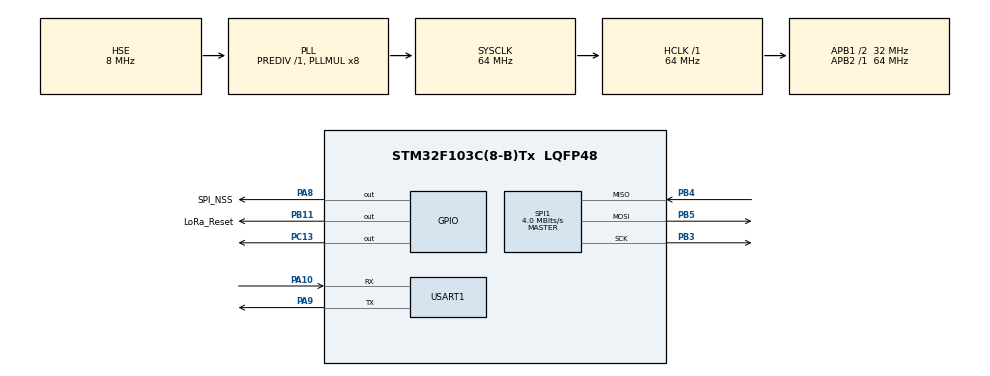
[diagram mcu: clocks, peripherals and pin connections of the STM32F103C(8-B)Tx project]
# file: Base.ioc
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Mcu.Family=STM32F1
Mcu.Name=STM32F103C(8-B)Tx
Mcu.Package=LQFP48
NVIC.PriorityGroup=NVIC_PRIORITYGROUP_4
PA10.Mode=Asynchronous
PA10.Signal=USART1_RX
PA8.GPIO_Label=SPI_NSS
PA8.Signal=GPIO_Output
PA9.Mode=Asynchronous
PA9.Signal=USART1_TX
PB11.GPIO_Label=LoRa_Reset
PB11.Signal=GPIO_Output
PB3.Mode=Full_Duplex_Master
PB3.Signal=SPI1_SCK
PB4.Mode=Full_Duplex_Master
PB4.Signal=SPI1_MISO
PB5.Mode=Full_Duplex_Master
PB5.Signal=SPI1_MOSI
PC13-TAMPER-RTC.Signal=GPIO_Output
PD0-OSC_IN.Mode=HSE-External-Oscillator
PD0-OSC_IN.Signal=RCC_OSC_IN
PD1-OSC_OUT.Mode=HSE-External-Oscillator
PD1-OSC_OUT.Signal=RCC_OSC_OUT
ProjectManager.HeapSize=0x200
ProjectManager.StackSize=0x400
ProjectManager.TargetToolchain=TrueSTUDIO
RCC.ADCPresc=RCC_ADCPCLK2_DIV8
RCC.AHBFreq_Value=64000000
RCC.APB1CLKDivider=RCC_HCLK_DIV2
RCC.APB1Freq_Value=32000000
RCC.APB1TimFreq_Value=64000000
RCC.APB2Freq_Value=64000000
RCC.APB2TimFreq_Value=64000000
RCC.HCLKFreq_Value=64000000
RCC.PLLMUL=RCC_PLL_MUL8
RCC.PLLSourceVirtual=RCC_PLLSOURCE_HSE
RCC.SYSCLKFreq_VALUE=64000000
RCC.SYSCLKSource=RCC_SYSCLKSOURCE_PLLCLK
RCC.USBFreq_Value=64000000
SPI1.BaudRatePrescaler=SPI_BAUDRATEPRESCALER_16
SPI1.CalculateBaudRate=4.0 MBits/s
SPI1.Direction=SPI_DIRECTION_2LINES
SPI1.Mode=SPI_MODE_MASTER
SPI1.VirtualType=VM_MASTER
USART1.VirtualMode=VM_ASYNC
VP_SYS_VS_ND.Mode=No_Debug
board=custom

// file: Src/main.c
/**
  ******************************************************************************
  * @file           : main.c
  * @brief          : Main program body
  ******************************************************************************
  ** This notice applies to any and all portions of this file
  * that are not between comment pairs USER CODE BEGIN and
  * USER CODE END. Other portions of this file, whether
  * inserted by the user or by software development tools
  * are owned by their respective copyright owners.
  *
  * COPYRIGHT(c) 2018 STMicroelectronics
  *
  * Redistribution and use in source and binary forms, with or without modification,
  * are permitted provided that the following conditions are met:
  *   1. Redistributions of source code must retain the above copyright notice,
  *      this list of conditions and the following disclaimer.
  *   2. Redistributions in binary form must reproduce the above copyright notice,
  *      this list of conditions and the following disclaimer in the documentation
  *      and/or other materials provided with the distribution.
  *   3. Neither the name of STMicroelectronics nor the names of its contributors
  *      may be used to endorse or promote products derived from this software
  *      without specific prior written permission.
  *
  * THIS SOFTWARE IS PROVIDED BY THE COPYRIGHT HOLDERS AND CONTRIBUTORS "AS IS"
  * AND ANY EXPRESS OR IMPLIED WARRANTIES, INCLUDING, BUT NOT LIMITED TO, THE
  * IMPLIED WARRANTIES OF MERCHANTABILITY AND FITNESS FOR A PARTICULAR PURPOSE ARE
  * DISCLAIMED. IN NO EVENT SHALL THE COPYRIGHT HOLDER OR CONTRIBUTORS BE LIABLE
  * FOR ANY DIRECT, INDIRECT, INCIDENTAL, SPECIAL, EXEMPLARY, OR CONSEQUENTIAL
  * DAMAGES (INCLUDING, BUT NOT LIMITED TO, PROCUREMENT OF SUBSTITUTE GOODS OR
  * SERVICES; LOSS OF USE, DATA, OR PROFITS; OR BUSINESS INTERRUPTION) HOWEVER
  * CAUSED AND ON ANY THEORY OF LIABILITY, WHETHER IN CONTRACT, STRICT LIABILITY,
  * OR TORT (INCLUDING NEGLIGENCE OR OTHERWISE) ARISING IN ANY WAY OUT OF THE USE
  * OF THIS SOFTWARE, EVEN IF ADVISED OF THE POSSIBILITY OF SUCH DAMAGE.
  *
  ******************************************************************************
  */
#include "main.h"
#include "stm32f1xx_hal.h"

/* USER CODE BEGIN Includes */
#include "SX1278.h"
/* USER CODE END Includes */

SPI_HandleTypeDef hspi1;

UART_HandleTypeDef huart1;

/* USER CODE BEGIN PV */
/* Private variables ---------------------------------------------------------*/

/* USER CODE END PV */

void SystemClock_Config(void);
static void MX_GPIO_Init(void);
static void MX_USART1_UART_Init(void);
static void MX_SPI1_Init(void);

/* USER CODE BEGIN PFP */

/* Private function prototypes -----------------------------------------------*/

/* USER CODE END PFP */

int main(void)
{

  /* MCU Configuration----------------------------------------------------------*/

  /* Reset of all peripherals, Initializes the Flash interface and the Systick. */
  HAL_Init();

  /* Configure the system clock */
  SystemClock_Config();

  /* Initialize all configured peripherals */
  MX_GPIO_Init();
  MX_USART1_UART_Init();
  MX_SPI1_Init();
  /* USER CODE BEGIN 2 */

  SX1278_hw_t LoRaHW = {  .nss =   { .pin  = SPI_NSS_Pin,
		  	  	  	  	             .port = SPI_NSS_GPIO_Port},
						  .reset = { .pin  = LoRa_Reset_Pin,
									 .port = LoRa_Reset_GPIO_Port},
						  .dio0 =  {
									 .pin = 0,
									 .port = LoRa_Reset_GPIO_Port},
						  .spi =     &hspi1,
				  };

  SX1278_t LoRa;
  LoRa.hw = &LoRaHW;

  SX1278_begin(&LoRa, SX1278_433MHZ, SX1278_POWER_17DBM, SX1278_LORA_SF_12,SX1278_LORA_BW_125KHZ, 6);

  uint32_t ret;
  uint8_t buffer[256];
  ret = SX1278_LoRaEntryRx(&LoRa, 6, 2000);

  /* USER CODE END 2 */

  /* Infinite loop */
  /* USER CODE BEGIN WHILE */
  while (1)
  {

	  ret = SX1278_LoRaRxPacket(&LoRa, 2000);

		if (ret > 0) {
		  SX1278_read(&LoRa, (uint8_t *) buffer, ret);
//		  printf("Content (%d): %s\r\n", ret, buffer);

		  HAL_GPIO_WritePin(GPIOC, GPIO_PIN_13, GPIO_PIN_SET);
		  HAL_Delay(100);
		  HAL_GPIO_WritePin(GPIOC, GPIO_PIN_13, GPIO_PIN_RESET);
		  HAL_Delay(100);
		  HAL_GPIO_WritePin(GPIOC, GPIO_PIN_13, GPIO_PIN_SET);
		  HAL_Delay(100);
		  HAL_GPIO_WritePin(GPIOC, GPIO_PIN_13, GPIO_PIN_RESET);

		  HAL_UART_Transmit(&huart1, LoRa.rxBuffer, ret, 1000);
		}

	  HAL_Delay(1000);

  /* USER CODE END WHILE */

  }

}

void SystemClock_Config(void)
{

  RCC_OscInitTypeDef RCC_OscInitStruct;
  RCC_ClkInitTypeDef RCC_ClkInitStruct;

    /**Initializes the CPU, AHB and APB busses clocks
    */
  RCC_OscInitStruct.OscillatorType = RCC_OSCILLATORTYPE_HSE;
  RCC_OscInitStruct.HSEState = RCC_HSE_ON;
  RCC_OscInitStruct.HSEPredivValue = RCC_HSE_PREDIV_DIV1;
  RCC_OscInitStruct.HSIState = RCC_HSI_ON;
  RCC_OscInitStruct.PLL.PLLState = RCC_PLL_ON;
  RCC_OscInitStruct.PLL.PLLSource = RCC_PLLSOURCE_HSE;
  RCC_OscInitStruct.PLL.PLLMUL = RCC_PLL_MUL8;
  if (HAL_RCC_OscConfig(&RCC_OscInitStruct) != HAL_OK)
  {
    _Error_Handler(__FILE__, __LINE__);
  }

    /**Initializes the CPU, AHB and APB busses clocks
    */
  RCC_ClkInitStruct.ClockType = RCC_CLOCKTYPE_HCLK|RCC_CLOCKTYPE_SYSCLK
                              |RCC_CLOCKTYPE_PCLK1|RCC_CLOCKTYPE_PCLK2;
  RCC_ClkInitStruct.SYSCLKSource = RCC_SYSCLKSOURCE_PLLCLK;
  RCC_ClkInitStruct.AHBCLKDivider = RCC_SYSCLK_DIV1;
  RCC_ClkInitStruct.APB1CLKDivider = RCC_HCLK_DIV2;
  RCC_ClkInitStruct.APB2CLKDivider = RCC_HCLK_DIV1;

  if (HAL_RCC_ClockConfig(&RCC_ClkInitStruct, FLASH_LATENCY_2) != HAL_OK)
  {
    _Error_Handler(__FILE__, __LINE__);
  }

    /**Configure the Systick interrupt time
    */
  HAL_SYSTICK_Config(HAL_RCC_GetHCLKFreq()/1000);

    /**Configure the Systick
    */
  HAL_SYSTICK_CLKSourceConfig(SYSTICK_CLKSOURCE_HCLK);

  /* SysTick_IRQn interrupt configuration */
  HAL_NVIC_SetPriority(SysTick_IRQn, 0, 0);
}

/* SPI1 init function */
static void MX_SPI1_Init(void)
{

  /* SPI1 parameter configuration*/
  hspi1.Instance = SPI1;
  hspi1.Init.Mode = SPI_MODE_MASTER;
  hspi1.Init.Direction = SPI_DIRECTION_2LINES;
  hspi1.Init.DataSize = SPI_DATASIZE_8BIT;
  hspi1.Init.CLKPolarity = SPI_POLARITY_LOW;
  hspi1.Init.CLKPhase = SPI_PHASE_1EDGE;
  hspi1.Init.NSS = SPI_NSS_SOFT;
  hspi1.Init.BaudRatePrescaler = SPI_BAUDRATEPRESCALER_16;
  hspi1.Init.FirstBit = SPI_FIRSTBIT_MSB;
  hspi1.Init.TIMode = SPI_TIMODE_DISABLE;
  hspi1.Init.CRCCalculation = SPI_CRCCALCULATION_DISABLE;
  hspi1.Init.CRCPolynomial = 10;
  if (HAL_SPI_Init(&hspi1) != HAL_OK)
  {
    _Error_Handler(__FILE__, __LINE__);
  }

}

/* USART1 init function */
static void MX_USART1_UART_Init(void)
{

  huart1.Instance = USART1;
  huart1.Init.BaudRate = 115200;
  huart1.Init.WordLength = UART_WORDLENGTH_8B;
  huart1.Init.StopBits = UART_STOPBITS_1;
  huart1.Init.Parity = UART_PARITY_NONE;
  huart1.Init.Mode = UART_MODE_TX_RX;
  huart1.Init.HwFlowCtl = UART_HWCONTROL_NONE;
  huart1.Init.OverSampling = UART_OVERSAMPLING_16;
  if (HAL_UART_Init(&huart1) != HAL_OK)
  {
    _Error_Handler(__FILE__, __LINE__);
  }

}

/** Configure pins as
        * Analog
        * Input
        * Output
        * EVENT_OUT
        * EXTI
*/
static void MX_GPIO_Init(void)
{

  GPIO_InitTypeDef GPIO_InitStruct;

  /* GPIO Ports Clock Enable */
  __HAL_RCC_GPIOC_CLK_ENABLE();
  __HAL_RCC_GPIOD_CLK_ENABLE();
  __HAL_RCC_GPIOB_CLK_ENABLE();
  __HAL_RCC_GPIOA_CLK_ENABLE();

  /*Configure GPIO pin Output Level */
  HAL_GPIO_WritePin(GPIOC, GPIO_PIN_13, GPIO_PIN_RESET);

  /*Configure GPIO pin Output Level */
  HAL_GPIO_WritePin(LoRa_Reset_GPIO_Port, LoRa_Reset_Pin, GPIO_PIN_RESET);

  /*Configure GPIO pin Output Level */
  HAL_GPIO_WritePin(SPI_NSS_GPIO_Port, SPI_NSS_Pin, GPIO_PIN_RESET);

  /*Configure GPIO pin : PC13 */
  GPIO_InitStruct.Pin = GPIO_PIN_13;
  GPIO_InitStruct.Mode = GPIO_MODE_OUTPUT_PP;
  GPIO_InitStruct.Pull = GPIO_NOPULL;
  GPIO_InitStruct.Speed = GPIO_SPEED_FREQ_LOW;
  HAL_GPIO_Init(GPIOC, &GPIO_InitStruct);

  /*Configure GPIO pin : LoRa_Reset_Pin */
  GPIO_InitStruct.Pin = LoRa_Reset_Pin;
  GPIO_InitStruct.Mode = GPIO_MODE_OUTPUT_PP;
  GPIO_InitStruct.Pull = GPIO_NOPULL;
  GPIO_InitStruct.Speed = GPIO_SPEED_FREQ_LOW;
  HAL_GPIO_Init(LoRa_Reset_GPIO_Port, &GPIO_InitStruct);

  /*Configure GPIO pin : SPI_NSS_Pin */
  GPIO_InitStruct.Pin = SPI_NSS_Pin;
  GPIO_InitStruct.Mode = GPIO_MODE_OUTPUT_PP;
  GPIO_InitStruct.Pull = GPIO_NOPULL;
  GPIO_InitStruct.Speed = GPIO_SPEED_FREQ_LOW;
  HAL_GPIO_Init(SPI_NSS_GPIO_Port, &GPIO_InitStruct);

}

void _Error_Handler(char *file, int line)
{
  while(1)
  {
  }
}

/************************ (C) COPYRIGHT STMicroelectronics *****END OF FILE****/
